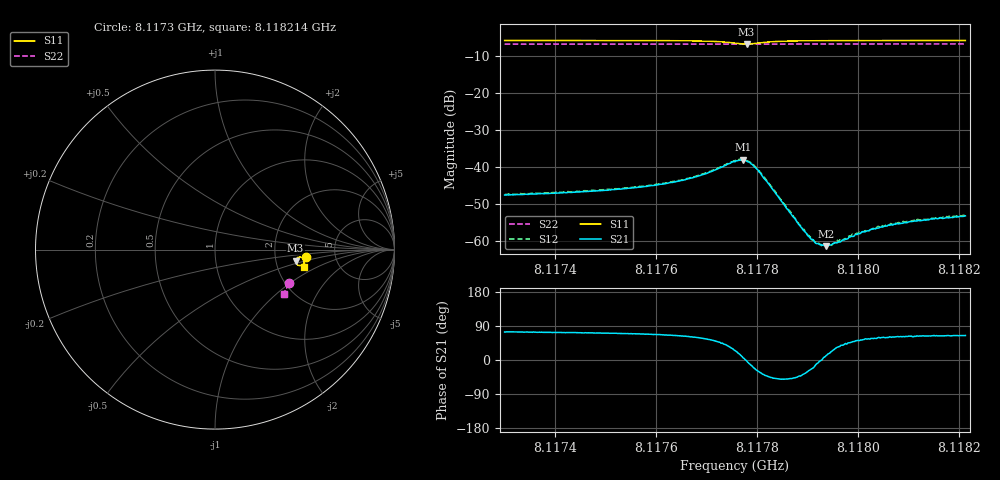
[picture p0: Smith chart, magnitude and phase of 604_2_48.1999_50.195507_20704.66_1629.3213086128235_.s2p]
#  HZ  S  RI  R  50.00
! Rohde & Schwarz Vector Network Analyzer
! Rohde-Schwarz,ZNB20-2Port,1311601062101988,3.16
! Created: UTC 3/20/2024, 12:03:08 PM
! freq[Hz]  re:S11  im:S11  re:S21  im:S21  re:S12  im:S12  re:S22  im:S22
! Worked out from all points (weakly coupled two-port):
!   401 points, 8.1173 GHz to 8.118214 GHz, reference 50 ohm
!   highest |S21| = -38.15 dB at 8.117773 GHz (marker M1); lowest = -61.5 dB at 8.117937 GHz (marker M2)
!   lowest |S11| = -6.9 dB at 8.11778 GHz (marker M3), VSWR 2.66, Z = 129 - j20 ohm
!   |S11| at or under -10 dB: nowhere
!   |S22| runs from -6.9 to -6.8 dB; largest |S21 - S12| = 0.00052
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8.1173001e9  0.5051 -0.0386  0.00115 0.00397  0.00117 0.00403  0.411 -0.1883
8.1174531e9  0.5033 -0.052  0.00144 0.00436  0.00149 0.00442  0.407 -0.1981
8.1175285e9  0.5019 -0.0592  0.00168 0.00466  0.00173 0.00472  0.4048 -0.2032
8.1176061e9  0.4992 -0.0681  0.00222 0.00526  0.00235 0.00535  0.4022 -0.2081
8.1176518e9  0.4961 -0.0746  0.00293 0.00581  0.00298 0.00592  0.4009 -0.2111
8.1176815e9  0.4926 -0.0796  0.00374 0.00635  0.00386 0.00645  0.3998 -0.2131
8.1177568e9  0.4589 -0.0842  0.0105 0.00484  0.011 0.00506  0.396 -0.2174
8.1177728e9  0.4495 -0.0698  0.0123 0.00129  0.0124 0.0015  0.3952 -0.2176
8.1177797e9  0.4491 -0.0614  0.0119 -0.000371  0.0121 -0.000504  0.3952 -0.2176
8.1177911e9  0.455 -0.0488  0.0103 -0.00304  0.0105 -0.00327  0.3952 -0.2178
8.1178071e9  0.4693 -0.0412  0.00687 -0.00452  0.00703 -0.00464  0.3955 -0.2185
8.117887e9  0.4972 -0.059  0.00114 -0.00104  0.0012 -0.00105  0.394 -0.2243
8.1179098e9  0.4985 -0.0635  0.000958 -0.000399  0.000928 -0.000422  0.3934 -0.2258
8.1179212e9  0.4986 -0.0653  0.000905 -0.000126  0.000925 -0.000111  0.3929 -0.2268
8.1179372e9  0.499 -0.068  0.000827 0.000161  0.000846 0.000181  0.3926 -0.2278
8.1179441e9  0.4993 -0.069  0.000827 0.000261  0.000831 0.000272  0.3923 -0.2282
8.1179715e9  0.4992 -0.0727  0.000794 0.00065  0.000806 0.000654  0.3913 -0.23
8.1179943e9  0.4993 -0.0754  0.000779 0.000899  0.000814 0.000916  0.3905 -0.2315
8.1180286e9  0.4989 -0.0793  0.000784 0.0012  0.000812 0.0012  0.3894 -0.2338
8.1180628e9  0.4987 -0.0827  0.000791 0.00143  0.000802 0.0014  0.3884 -0.2357
8.1181176e9  0.4979 -0.0879  0.000813 0.00166  0.000899 0.00171  0.3865 -0.2392
8.1182135e9  0.4967 -0.0963  0.000925 0.00195  0.000966 0.00198  0.383 -0.2451
